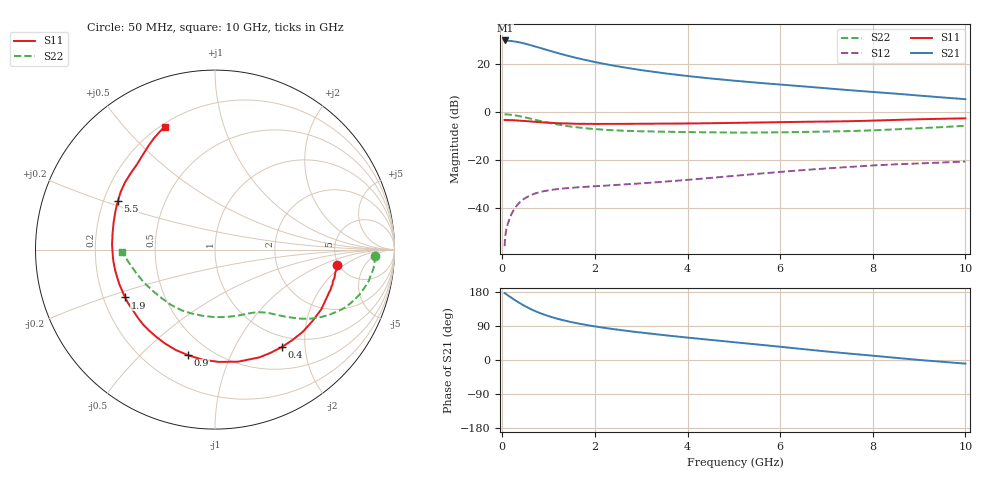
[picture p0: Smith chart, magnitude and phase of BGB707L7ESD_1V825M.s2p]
!  Infineon Technologies AG
!  BGB707L7ESD
!  Vce = 1.8V, Ic = 25.0mA
!  DATUM: 30.06.2009 10:16:07
# GHz  S  MA  R  50
!f  S11  S21  S12  S22
!GHz  Mag  Ang  Mag  Ang  Mag  Ang  Mag  Ang
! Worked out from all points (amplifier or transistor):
!   52 points, 50 MHz to 10 GHz, reference 50 ohm
!   highest |S21| = 29.7 dB at 60 MHz (marker M1)
!   |S21| within 3 dB of that: start of sweep to 801.2 MHz
!   unconditionally stable (mu >= 1): start of sweep to 55.5 MHz; 2.761 GHz to end of sweep
!   at 130 MHz: K = 0.45, MSG = 37.7 dB, |S12| = -45.8 dB
!   at 1.4 GHz: K = 0.59, MSG = 27.5 dB, |S12| = -31.6 dB
!   at 10 GHz: K = 1.07, MAG = 11.3 dB, |S12| = -20.6 dB
!   S11 on the Smith chart (normalised r, x): 50 MHz: 4.82, -1.53; 400 MHz: 0.82, -1.58; 900 MHz: 0.38, -0.70; 1.9 GHz: 0.29, -0.23; 5.5 GHz: 0.26, +0.22; 10 GHz: 0.21, +0.65
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0.05  0.6836 -7.1  30.1 176.7  0.001643 67.2  0.8906 -2.2
0.06  0.6878 -9.3  30.56 175.8  0.0025 73.8  0.8923 -2.9
0.2  0.6792 -29.3  29.76 164.0  0.007682 71.7  0.8736 -11.6
0.25  0.6733 -36.2  29.17 159.9  0.009298 69.6  0.8588 -14.5
0.35  0.6632 -49.5  28.11 152.2  0.01258 64.9  0.8277 -19.6
0.4  0.6586 -55.5  27.44 148.6  0.01395 62.7  0.8091 -21.9
0.45  0.653 -61.9  26.84 144.8  0.01528 60.6  0.7914 -24.2
0.6  0.6376 -78.3  24.56 135.2  0.01853 54.8  0.7311 -29.9
0.7  0.6261 -88.0  23.07 129.5  0.02027 51.6  0.6937 -33.0
0.9  0.6071 -104.4  20.24 119.9  0.02277 46.7  0.6272 -37.9
1.1  0.5928 -117.9  17.79 112.0  0.02451 43.6  0.572 -41.5
1.3  0.5817 -128.9  15.74 105.5  0.02578 41.6  0.5298 -44.4
1.5  0.5742 -137.9  14.02 99.8  0.02678 40.4  0.4963 -46.8
1.8  0.5687 -148.8  12 92.8  0.02798 40.1  0.4603 -50.1
1.9  0.5672 -152.0  11.43 90.6  0.02844 40.1  0.4507 -51.1
2.6  0.5681 -168.5  8.514 78.4  0.03122 42.5  0.41 -59.0
3.5  0.5744 177.2  6.366 65.5  0.03581 47.0  0.3899 -70.2
4.5  0.5853 164.6  4.966 53.1  0.0429 51.1  0.3782 -84.0
5.5  0.6048 153.6  4.063 41.0  0.05204 52.6  0.3753 -100.6
7  0.6338 137.7  3.106 22.5  0.06739 50.0  0.3935 -128.4
8.5  0.6857 122.9  2.402 5.7  0.08212 44.0  0.4373 -155.6
10  0.7395 112.3  1.847 -9.6  0.0938 38.1  0.5184 -178.4
